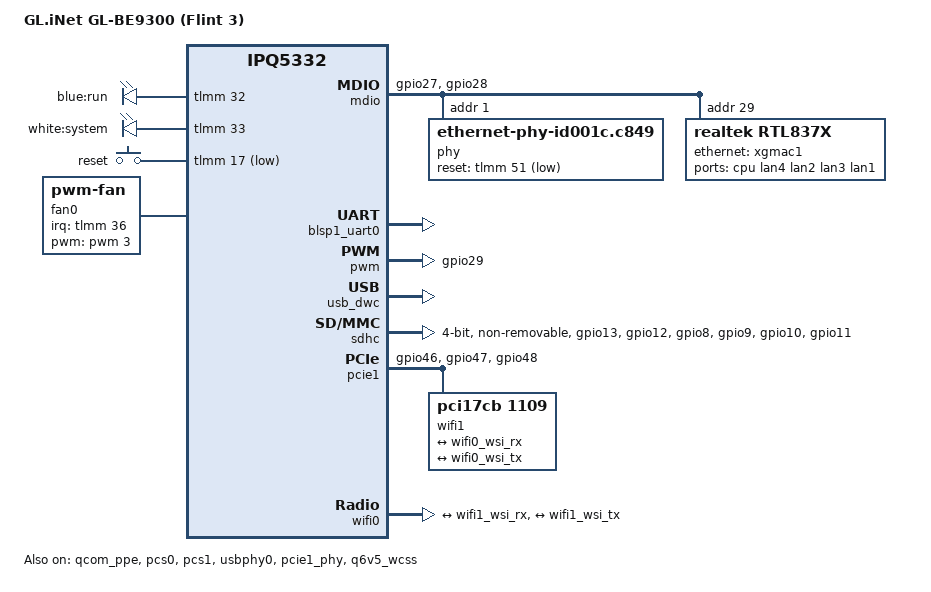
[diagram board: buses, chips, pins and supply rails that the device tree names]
// SPDX-License-Identifier: (GPL-2.0+ OR BSD-3-Clause)

/dts-v1/;

#include <arm64/qcom/ipq5332.dtsi>

#include <dt-bindings/gpio/gpio.h>
#include <dt-bindings/input/input.h>
#include <dt-bindings/leds/common.h>
#include <dt-bindings/clock/qcom,ipq5332-nsscc.h>

/ {
	#address-cells = <0x2>;
	#size-cells = <0x2>;
	model = "GL.iNet GL-BE9300 (Flint 3)";
	compatible = "gl.inet,gl-be9300", "qcom,ipq5332";

	aliases {
		serial0 = &blsp1_uart0;
	};

	chosen {
		stdout-path = "serial0:115200n8";
	};

	reserved-memory {
		#address-cells = <2>;
		#size-cells = <2>;
		ranges;

		/* TZ apps region is SBL-configured per board; Flint 3 vendor
		 * DT places it at 0x49b00000 (BE6500 uses 0x49600000). */
		tzapp: tzapp@49b00000 {
			reg = <0x0 0x49b00000 0x0 0x00600000>;
			no-map;
		};

		m3_dump: m3-dump@4d400000 {
			reg = <0x0 0x4d400000 0x0 0x100000>;
			no-map;
		};

		q6_caldb: q6-caldb@4d500000 {
			reg = <0x0 0x4d500000 0x0 0x500000>;
			no-map;
		};

		mlo_mem: mlo-global-mem@4db00000 {
			reg = <0x0 0x4db00000 0x0 0x01200000>;
			no-map;
		};

		qcn9274_host_ddr: qcn9274-host-ddr@4ed00000 {
			reg = <0x0 0x4ed00000 0x0 0x03200000>;
			no-map;
		};
	};

	soc@0 {
		leds {
			compatible = "gpio-leds";
			pinctrl-0 = <&leds_pins>;
			pinctrl-names = "default";
			status = "okay";

			led@32 {
				label = "blue:run";
				gpios = <&tlmm 32 GPIO_ACTIVE_HIGH>;
				default-state = "on";
			};

			led@33 {
				label = "white:system";
				gpios = <&tlmm 33 GPIO_ACTIVE_HIGH>;
				default-state = "off";
			};
		};

		gpio_keys {
			compatible = "gpio-keys";
			pinctrl-0 = <&button_pins>;
			pinctrl-names = "default";
			status = "okay";

			reset {
				label = "reset";
				linux,code = <KEY_RESTART>;
				gpios = <&tlmm 17 GPIO_ACTIVE_LOW>;
				linux,input-type = <1>;
			};
		};

		fan0: pwm-fan {
			compatible = "pwm-fan";
			pinctrl-0 = <&fan_pins>;
			pinctrl-names = "default";
			cooling-min-state = <0>;
			cooling-max-state = <255>;
			#cooling-cells = <2>;
			pwms = <&pwm 3 40000 0>;
			interrupt-parent = <&tlmm>;
			interrupts = <36 IRQ_TYPE_EDGE_RISING>;
			cooling-levels = <0 36 36 36 36 36 36 36 36 36 36 36 36 36 36 36 36 36 36 36
					36 36 36 36 36 36 36 36 36 36 36 36 36 36 36 36 36 37 38 39
					40 41 42 43 44 45 46 47 48 49 50 51 52 53 54 55 56 57 58 59
					60 61 62 63 64 65 66 67 68 69 70 71 72 73 74 75 76 77 78 79
					80 81 82 83 84 85 86 87 88 89 90 91 92 93 94 95 96 97 98 99
					100 101 102 103 104 105 106 107 108 109 110 111 112 113 114 115 116 117 118 119
					120 121 122 123 124 125 126 127 128 129 130 131 132 133 134 135 136 137 138 139
					140 141 142 143 144 145 146 147 148 149 150 151 152 153 154 155 156 157 158 159
					160 161 162 163 164 165 166 167 168 169 170 171 172 173 174 175 176 177 178 179
					180 181 182 183 184 185 186 187 188 189 190 191 192 193 194 195 196 197 198 199
					200 201 202 203 204 205 206 207 208 209 210 211 212 213 214 215 216 217 218 219
					220 221 222 223 224 225 226 227 228 229 230 231 232 233 234 235 236 237 238 239
					240 241 242 243 244 245 246 247 248 249 250 251 252 253 254 255>;
		};

		mdio: mdio@90000 {
			compatible = "qcom,ipq4019-mdio";
			reg = <0x90000 0x64>;
			pinctrl-0 = <&mdio1_pins &mdio0_pins>;
			pinctrl-names = "default";
			#address-cells = <1>;
			#size-cells = <0>;
			clocks = <&gcc GCC_MDIO_AHB_CLK>;
			clock-names = "gcc_mdio_ahb_clk";
			status = "disabled";
		};
	};
};

&blsp1_uart0 {
	pinctrl-0 = <&serial_0_pins>;
	pinctrl-names = "default";
	status = "okay";
};

&pwm {
	#pwm-cells = <2>;
	pinctrl-0 = <&pwm_pins>;
	pinctrl-names = "default";
	used-pwm-indices = <0>, <0>, <0>, <1>;
	status = "okay";
};

&tlmm {
	leds_pins: leds_pinmux {
		led_blue {
			pins = "gpio32";
			function = "gpio";
			drive-strength = <8>;
			bias-pull-down;
		};

		led_white {
			pins = "gpio33";
			function = "gpio";
			drive-strength = <8>;
			bias-pull-down;
		};
	};

	button_pins: button_pins {
		reset_button {
			pins = "gpio17";
			function = "gpio";
			drive-strength = <8>;
			bias-pull-up;
		};
	};

	pwm_pins: pwm_pinmux {
		pwm1 {
			pins = "gpio29";
			function = "pwm1";
			drive-strength = <8>;
		};
	};

	fan_pins: fan_pins {
		pwr {
			pins = "gpio34";
			function = "gpio";
			bias-pull-up;
			output-high;
		};
		speed {
			pins = "gpio36";
			function = "gpio";
			drive-strength = <8>;
			bias-pull-down;
		};
	};

	usb_pins: usb_pins {
		usb_pwr {
			pins = "gpio16";
			function = "gpio";
			bias-pull-up;
			output-high;
		};
	};

	sdc_default_state: sdc-default-state {
		clk-pins {
			pins = "gpio13";
			function = "sdc_clk";
			drive-strength = <8>;
			bias-disable;
		};

		cmd-pins {
			pins = "gpio12";
			function = "sdc_cmd";
			drive-strength = <8>;
			bias-pull-up;
		};

		data-pins {
			pins = "gpio8", "gpio9", "gpio10", "gpio11";
			function = "sdc_data";
			drive-strength = <8>;
			bias-pull-up;
		};
	};

	pcie1_default: pcie1-default-state {
		clkreq-n-pins {
			pins = "gpio46";
			function = "pcie1_clk";
			drive-strength = <8>;
			bias-pull-up;
		};

		perst-n-pins {
			pins = "gpio47";
			function = "gpio";
			drive-strength = <8>;
			bias-pull-up;
			output-low;
		};

		wake-n-pins {
			pins = "gpio48";
			function = "pcie1_wake";
			drive-strength = <8>;
			bias-pull-up;
		};
	};

	mdio0_pins: mdio0-state {
		mux_0 {
			pins = "gpio25";
			function = "mdc0";
			drive-strength = <8>;
			bias-disable;
		};

		mux_1 {
			pins = "gpio26";
			function = "mdio0";
			drive-strength = <8>;
			bias-pull-up;
		};
	};

	mdio1_pins: mdio1-state {
		mux_0 {
			pins = "gpio27";
			function = "mdc1";
			drive-strength = <8>;
			bias-disable;
		};

		mux_1 {
			pins = "gpio28";
			function = "mdio1";
			drive-strength = <8>;
			bias-pull-up;
		};
	};
};

&mdio {
	status = "okay";
	pinctrl-0 = <&mdio1_pins>;
	pinctrl-names = "default";
	mdio_clk_fixup; /* MDIO clock sequence fix up flag */

	/*
	 * RTL8221B-VB-CG 2.5G WAN PHY. Vendor DT lists two MDIO reset
	 * GPIOs: 51 and 24. Per our May bring-up notes 51 is the RTL8221B
	 * and 24 the RTL8372N switch (BE6500 uses 24 for its PHY — if the
	 * WAN PHY fails to probe, swap to 24 here).
	 */
	phy: ethernet-phy@1 {
		compatible = "ethernet-phy-id001c.c849";
		reg = <1>;
		reset-gpios = <&tlmm 51 GPIO_ACTIVE_LOW>;
		reset-assert-us = <10000>;
		reset-deassert-us = <50000>;
	};

	/*
	 * RTL8372N switch (4x 2.5G LAN + 10G SerDes uplink to xgmac1).
	 * No reset-gpios: U-Boot leaves the switch initialized with SDS0
	 * in 10G mode and port 3 linked; the driver re-inits from there.
	 * BE6500 sets all four sdsN-rx/tx-swap flags; lane polarity is
	 * board-layout-specific, so start without swaps — if the 10G CPU
	 * link stays down, mirror BE6500's swap flags.
	 */
	rtl837x: rtl837x-dsa@29 {
		compatible = "realtek,rtl837x";
		#address-cells = <1>;
		#size-cells = <0>;
		reg = <29>;
		rtl837x,sds0mode = "10g-kr";
		gpio-controller;
		#gpio-cells = <2>;

		ports {
			#address-cells = <1>;
			#size-cells = <0>;

			port@3 {
				reg = <3>;
				label = "cpu";
				ethernet = <&xgmac1>;
				phy-mode = "10gbase-r";

				fixed-link {
					speed = <10000>;
					full-duplex;
				};
			};

			/*
			 * Front-panel jack mapping per May-2026 physical
			 * verification on the ap2 unit: LAN1=7, LAN2=5,
			 * LAN3=6, LAN4=4. Vendor DT labels swap lan2/lan3
			 * (6=lan2, 5=lan3) — if jack labels come out
			 * crossed, that's the fix.
			 */
			port@4 {
				reg = <4>;
				label = "lan4";
				phy-mode = "internal";
			};

			port@5 {
				reg = <5>;
				label = "lan2";
				phy-mode = "internal";
			};

			port@6 {
				reg = <6>;
				label = "lan3";
				phy-mode = "internal";
			};

			port@7 {
				reg = <7>;
				label = "lan1";
				phy-mode = "internal";
			};
		};
	};
};

&qcom_ppe {
	status = "okay";

	ethernet-ports {
		#address-cells = <1>;
		#size-cells = <0>;

		xgmac1: port@1 {
			reg = <1>;
			phy-mode = "10gbase-r";
			label = "lan";
			pcs-handle = <&pcs0_ch0>;
			phy-handle = <&rtl837x>;
			clocks = <&nsscc NSS_CC_PORT1_MAC_CLK>,
				 <&nsscc NSS_CC_PORT1_RX_CLK>,
				 <&nsscc NSS_CC_PORT1_TX_CLK>;
			clock-names = "mac",
				      "rx",
				      "tx";
			resets = <&nsscc NSS_CC_PORT1_MAC_CLK_ARES>,
				 <&nsscc NSS_CC_PORT1_RX_CLK_ARES>,
				 <&nsscc NSS_CC_PORT1_TX_CLK_ARES>;
			reset-names = "mac",
				      "rx",
				      "tx";

			fixed-link {
				speed = <10000>;
				full-duplex;
				pause;
			};
		};

		xgmac2: port@2 {
			reg = <2>;
			phy-mode = "usxgmii";
			managed = "in-band-status";
			label = "wan";
			pcs-handle = <&pcs1_ch0>;
			phy-handle = <&phy>;

			clocks = <&nsscc NSS_CC_PORT2_MAC_CLK>,
				 <&nsscc NSS_CC_PORT2_RX_CLK>,
				 <&nsscc NSS_CC_PORT2_TX_CLK>;
			clock-names = "mac",
				      "rx",
				      "tx";
			resets = <&nsscc NSS_CC_PORT2_MAC_CLK_ARES>,
				 <&nsscc NSS_CC_PORT2_RX_CLK_ARES>,
				 <&nsscc NSS_CC_PORT2_TX_CLK_ARES>;
			reset-names = "mac",
				      "rx",
				      "tx";
		};
	};
};

&pcs0 {
	status = "okay";
};

&pcs1 {
	status = "okay";
};

&usb_dwc {
	status = "okay";
};

&usbphy0 {
	status = "okay";
};

/* eMMC 5.1, 8 GB — Flint 3 boots from eMMC (BE6500 is SPI-NAND). */
&sdhc {
	bus-width = <4>;
	max-frequency = <192000000>;
	mmc-ddr-1_8v;
	mmc-hs200-1_8v;
	non-removable;
	pinctrl-0 = <&sdc_default_state>;
	pinctrl-names = "default";
	status = "okay";
};

&pcie1_phy {
	status = "okay";
};

&pcie1 {
	status = "okay";

	pinctrl-0 = <&pcie1_default>;
	pinctrl-names = "default";

	perst-gpios = <&tlmm 47 GPIO_ACTIVE_LOW>;
	wake-gpios = <&tlmm 48 GPIO_ACTIVE_LOW>;

	pcie@0 {
		/*
		 * QCN9274/QCN6274 dualmac package: MAC0 = 5 GHz,
		 * MAC1 = 6 GHz. OTP board-id is unprovisioned (0xff), so
		 * both board-id and radio count come from DT. Vendor CNSS
		 * uses board_id 0x1019 for this radio.
		 */
		wifi1: pcie@0 {
			compatible = "pci17cb,1109";
			reg = <0x00010000  0 0 0 0>;
			memory-region = <&qcn9274_host_ddr>, <&mlo_mem>;
			memory-region-names = "host-ddr-mem", "mlo-global-mem";
			qcom,ath12k-fw-memory-mode = <1>;
			qcom,board-id = <0x1019>;
			qcom,num-radios = <2>;

			ports {
				#address-cells = <1>;
				#size-cells = <0>;

				port@0 {
					reg = <0>;

					wifi1_wsi_tx: endpoint {
						remote-endpoint = <&wifi0_wsi_rx>;
					};
				};

				port@1 {
					reg = <1>;

					wifi1_wsi_rx: endpoint {
						remote-endpoint = <&wifi0_wsi_tx>;
					};
				};
			};
		};
	};
};

/*
 * The bootstrap pins for the board select the XO clock frequency that
 * supports 48 MHZ or 96 MHZ. This setting automatically enables the
 * right dividers, to ensure the reference clock output from WiFi to
 * the CMN PLL is 48 MHZ.
 */
&ref_48mhz_clk {
	clock-div = <1>;
	clock-mult = <1>;
};

&sleep_clk {
	clock-frequency = <32000>;
};

/*
 * The frequency of xo_board is fixed to 24 MHZ, which is routed
 * from WiFi output clock 48 MHZ divided by 2.
 */
&xo_board {
	clock-div = <2>;
	clock-mult = <1>;
};

&xo_clk {
	clock-frequency = <48000000>;
};

/* IPQ5332 integrated 2.4 GHz radio (AHB). Vendor board_id 0x12 = 18,
 * same as GL-BE6500. */
&wifi0 {
	firmware-name = "ath12k/IPQ5332/hw1.0/q6_fw1.mdt",
			"ath12k/IPQ5332/hw1.0/iu_fw.mdt";
	memory-region = <&q6_region>, <&m3_dump>, <&q6_caldb>, <&mlo_mem>;
	memory-region-names = "q6-region", "m3-dump", "q6-caldb", "mlo-global-mem";
	qcom,bdf-address-offset = <0x0c00000>;
	qcom,board-id = <18>;
	qcom,legacy-userpd-bootinfo;
	qcom,rproc = <&q6v5_wcss>;
	qcom,wsi-controller;
	status = "okay";

	ports {
		#address-cells = <1>;
		#size-cells = <0>;

		port@0 {
			reg = <0>;

			wifi0_wsi_tx: endpoint {
				remote-endpoint = <&wifi1_wsi_rx>;
			};
		};

		port@1 {
			reg = <1>;

			wifi0_wsi_rx: endpoint {
				remote-endpoint = <&wifi1_wsi_tx>;
			};
		};
	};
};

&q6v5_wcss {
	firmware-name = "ath12k/IPQ5332/hw1.0/q6_fw0.mdt";
	status = "okay";
};
